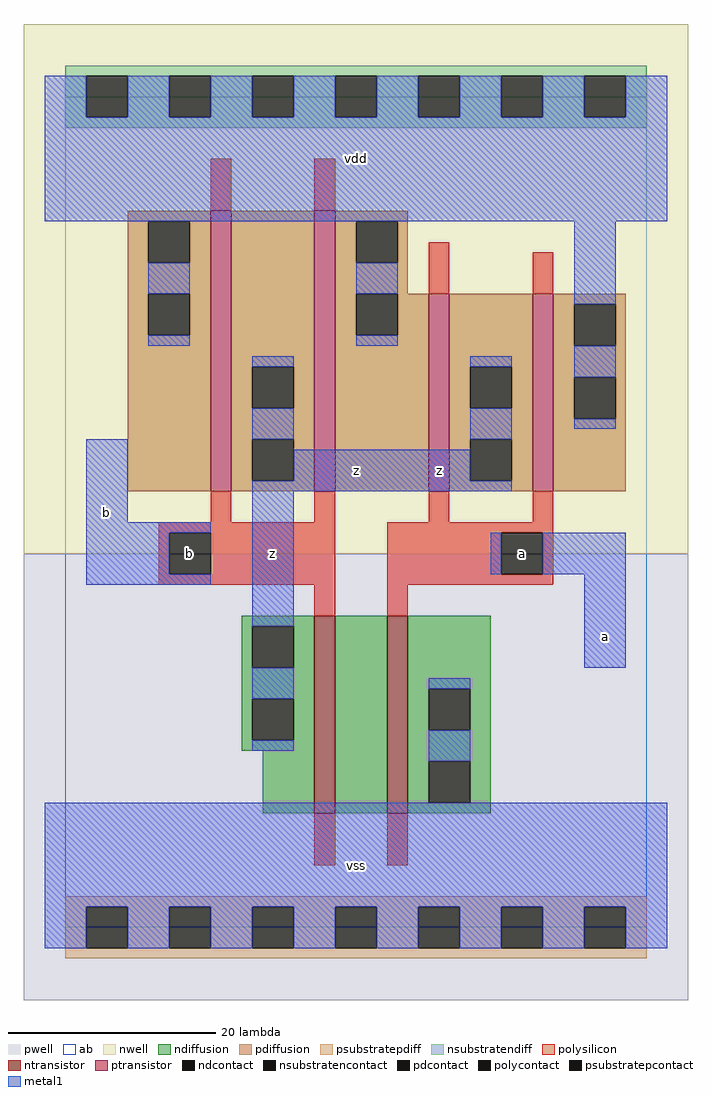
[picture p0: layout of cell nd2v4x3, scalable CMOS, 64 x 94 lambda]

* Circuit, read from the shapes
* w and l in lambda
.subckt nd2v4x3 a b vdd vss z
M1 n1 b z vss nfet w=19 l=2
M2 vss a n1 vss nfet w=19 l=2
M3 z b vdd vdd pfet w=27 l=2 m=2
M4 z a vdd vdd pfet w=19 l=2 m=2
.ends

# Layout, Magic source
magic
tech scmos
<< ab >>
rect 0 0 56 80
<< pwell >>
rect -4 -7 60 36
<< nwell >>
rect -4 36 60 87
<< polysilicon >>
rect 14 69 16 74
rect 24 69 26 74
rect 35 61 37 66
rect 45 61 47 65
rect 14 39 16 42
rect 24 39 26 42
rect 35 39 37 42
rect 45 39 47 42
rect 9 38 26 39
rect 9 34 10 38
rect 14 34 26 38
rect 9 33 26 34
rect 24 30 26 33
rect 31 38 47 39
rect 31 34 42 38
rect 46 34 47 38
rect 31 33 47 34
rect 31 30 33 33
rect 24 6 26 11
rect 31 6 33 11
<< ndiffusion >>
rect 17 29 24 30
rect 17 25 18 29
rect 22 25 24 29
rect 17 22 24 25
rect 17 18 18 22
rect 22 18 24 22
rect 17 17 24 18
rect 19 11 24 17
rect 26 11 31 30
rect 33 23 41 30
rect 33 19 35 23
rect 39 19 41 23
rect 33 16 41 19
rect 33 12 35 16
rect 39 12 41 16
rect 33 11 41 12
<< pdiffusion >>
rect 6 68 14 69
rect 6 64 8 68
rect 12 64 14 68
rect 6 61 14 64
rect 6 57 8 61
rect 12 57 14 61
rect 6 42 14 57
rect 16 54 24 69
rect 16 50 18 54
rect 22 50 24 54
rect 16 47 24 50
rect 16 43 18 47
rect 22 43 24 47
rect 16 42 24 43
rect 26 68 33 69
rect 26 64 28 68
rect 32 64 33 68
rect 26 61 33 64
rect 26 57 28 61
rect 32 57 35 61
rect 26 42 35 57
rect 37 54 45 61
rect 37 50 39 54
rect 43 50 45 54
rect 37 47 45 50
rect 37 43 39 47
rect 43 43 45 47
rect 37 42 45 43
rect 47 60 54 61
rect 47 56 49 60
rect 53 56 54 60
rect 47 53 54 56
rect 47 49 49 53
rect 53 49 54 53
rect 47 42 54 49
<< metal1 >>
rect -2 78 2 82
rect 6 78 10 82
rect 14 78 18 82
rect 22 78 26 82
rect 30 78 34 82
rect 38 78 42 82
rect 46 78 50 82
rect 54 78 58 82
rect -2 68 58 78
rect 8 61 12 64
rect 8 56 12 57
rect 28 61 32 64
rect 28 56 32 57
rect 49 60 53 68
rect 18 54 22 55
rect 18 47 22 50
rect 2 39 6 47
rect 39 54 43 55
rect 39 47 43 50
rect 49 53 53 56
rect 49 48 53 49
rect 22 43 39 46
rect 18 42 43 43
rect 2 38 14 39
rect 2 34 10 38
rect 2 33 14 34
rect 18 29 22 42
rect 41 34 42 38
rect 46 34 54 38
rect 50 25 54 34
rect 18 22 22 25
rect 18 17 22 18
rect 35 23 39 24
rect 35 16 39 19
rect -2 2 58 12
rect -2 -2 2 2
rect 6 -2 10 2
rect 14 -2 18 2
rect 22 -2 26 2
rect 30 -2 34 2
rect 38 -2 42 2
rect 46 -2 50 2
rect 54 -2 58 2
<< ntransistor >>
rect 24 11 26 30
rect 31 11 33 30
<< ptransistor >>
rect 14 42 16 69
rect 24 42 26 69
rect 35 42 37 61
rect 45 42 47 61
<< polycontact >>
rect 10 34 14 38
rect 42 34 46 38
<< ndcontact >>
rect 18 25 22 29
rect 18 18 22 22
rect 35 19 39 23
rect 35 12 39 16
<< pdcontact >>
rect 8 64 12 68
rect 8 57 12 61
rect 18 50 22 54
rect 18 43 22 47
rect 28 64 32 68
rect 28 57 32 61
rect 39 50 43 54
rect 39 43 43 47
rect 49 56 53 60
rect 49 49 53 53
<< psubstratepcontact >>
rect 2 -2 6 2
rect 10 -2 14 2
rect 18 -2 22 2
rect 26 -2 30 2
rect 34 -2 38 2
rect 42 -2 46 2
rect 50 -2 54 2
<< nsubstratencontact >>
rect 2 78 6 82
rect 10 78 14 82
rect 18 78 22 82
rect 26 78 30 82
rect 34 78 38 82
rect 42 78 46 82
rect 50 78 54 82
<< psubstratepdiff >>
rect 0 2 56 3
rect 0 -2 2 2
rect 6 -2 10 2
rect 14 -2 18 2
rect 22 -2 26 2
rect 30 -2 34 2
rect 38 -2 42 2
rect 46 -2 50 2
rect 54 -2 56 2
rect 0 -3 56 -2
<< nsubstratendiff >>
rect 0 82 56 83
rect 0 78 2 82
rect 6 78 10 82
rect 14 78 18 82
rect 22 78 26 82
rect 30 78 34 82
rect 38 78 42 82
rect 46 78 50 82
rect 54 78 56 82
rect 0 77 56 78
<< labels >>
rlabel metal1 4 40 4 40 6 b
rlabel polycontact 12 36 12 36 6 b
rlabel metal1 20 36 20 36 6 z
rlabel metal1 28 6 28 6 6 vss
rlabel metal1 36 44 36 44 6 z
rlabel metal1 28 44 28 44 6 z
rlabel metal1 28 74 28 74 6 vdd
rlabel polycontact 44 36 44 36 6 a
rlabel metal1 52 28 52 28 6 a
<< end >>
